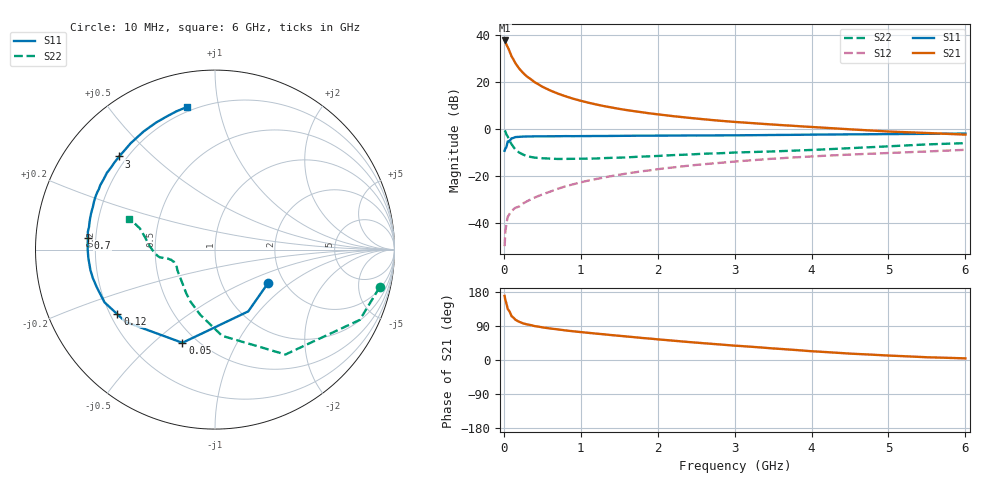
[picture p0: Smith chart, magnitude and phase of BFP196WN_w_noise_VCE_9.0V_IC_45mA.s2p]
! (c) 2017  Infineon Technologies AG, Munich
! Infineon Technologies  Discrete & RF Semiconductors
! BFP196WN
! VCE =  9.0 V,  IC =  45 mA
! Common Emitter S-Parameters:  Jan 2017
# GHz  S  MA  R  50
!  f  S11  S21  S12  S22
! GHz  MAG  ANG  MAG  ANG  MAG  ANG  MAG  ANG
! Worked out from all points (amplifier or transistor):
!   77 points, 10 MHz to 6 GHz, reference 50 ohm
!   highest |S21| = 37.7 dB at 10 MHz (marker M1)
!   |S21| within 3 dB of that: start of sweep to 53.1 MHz
!   unconditionally stable (mu >= 1): 673 MHz to 2.706 GHz
!   at 130 MHz: K = 0.49, MSG = 31.6 dB, |S12| = -33.9 dB
!   at 2.2 GHz: K = 1.02, MAG = 10.0 dB, |S12| = -16.2 dB
!   at 6 GHz: K = 0.90, MSG = 3.2 dB, |S12| = -8.7 dB
!   lowest NFmin = 1.22 dB at 450 MHz
!   S11 on the Smith chart (normalised r, x): 10 MHz: 1.64, -0.71; 50 MHz: 0.42, -0.62; 120 MHz: 0.23, -0.29; 700 MHz: 0.17, +0.05; 3 GHz: 0.17, +0.40; 6 GHz: 0.18, +0.81
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0.01  0.3494 -32.7  76.7 169.2  0.0033 76.5  0.9408 -12.9
0.02  0.3909 -61.7  70.91 158.3  0.0068 76.6  0.8966 -25.9
0.05  0.5501 -109.3  55.71 134.9  0.0137 55.7  0.7041 -56.1
0.1  0.6402 -140.9  35.37 115.6  0.0184 47.4  0.482 -85.3
0.12  0.6525 -146.5  31.24 112.6  0.0196 47.5  0.4335 -91.2
0.15  0.6821 -154.5  25.28 106.3  0.0215 47.6  0.3721 -102.8
0.2  0.6908 -162.1  19.39 100.7  0.023 50.6  0.3204 -115.2
0.25  0.699 -167.0  15.69 96.8  0.0266 51.8  0.2904 -123.7
0.3  0.7035 -170.7  13.18 94.0  0.0295 54.6  0.2684 -130.9
0.4  0.7072 -176.2  9.988 89.5  0.0354 58.9  0.2501 -140.2
0.5  0.7091 -179.8  8.005 86.2  0.0413 61.3  0.2427 -147.0
0.6  0.71 177.2  6.693 83.2  0.0473 63.5  0.2384 -151.9
0.7  0.7111 174.6  5.733 80.8  0.0544 65.6  0.2342 -155.2
0.9  0.7132 169.9  4.456 75.8  0.0678 66.2  0.2359 -159.5
1.1  0.7172 165.9  3.661 71.7  0.0816 67.3  0.238 -162.8
1.5  0.7243 158.9  2.707 63.9  0.1082 66.4  0.2495 -166.9
2.1  0.7332 149.2  1.985 52.8  0.1484 63.3  0.2769 -169.9
3  0.7443 135.8  1.432 37.9  0.2061 56.9  0.3206 -173.6
3.1  0.7457 134.3  1.395 36.6  0.2123 56.1  0.3241 -174.3
4.1  0.7706 119.8  1.093 22.0  0.27 48.0  0.3698 175.5
5.1  0.7908 109.1  0.882 10.9  0.318 40.6  0.4425 163.7
6  0.8099 101.0  0.769 4.3  0.3664 34.6  0.5075 160.6
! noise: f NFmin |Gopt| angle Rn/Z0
0.45  1.22  0.52  -178  0.05
0.9  1.34  0.55  -172  0.05
1.9  2.26  0.68  -148  0.14
2.4  2.99  0.69  -141  0.27
